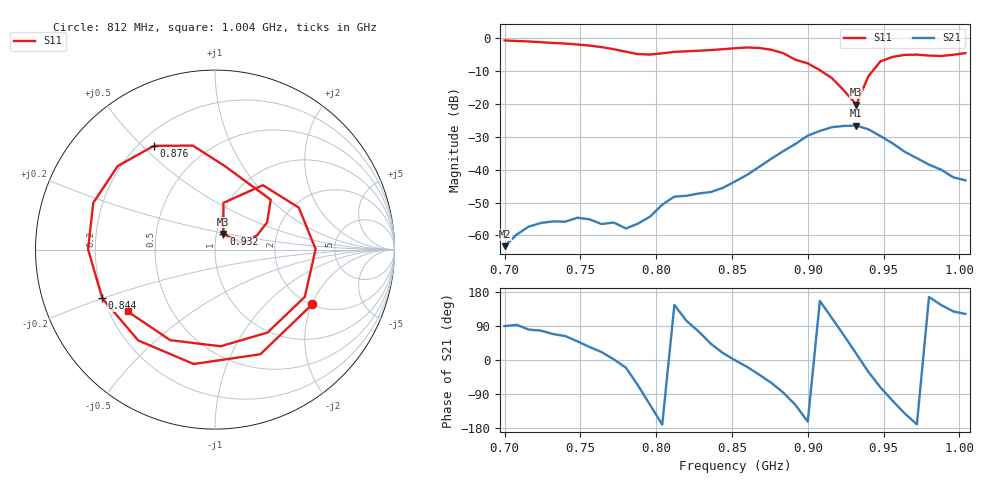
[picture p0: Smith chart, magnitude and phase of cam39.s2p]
# Hz S RI R 50
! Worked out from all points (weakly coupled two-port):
!   39 points, 700 MHz to 1.004 GHz, reference 50 ohm
!   highest |S21| = -26.56 dB at 932 MHz (marker M1); lowest = -63.3 dB at 700 MHz (marker M2)
!   lowest |S11| = -20.2 dB at 932 MHz (marker M3), VSWR 1.22, Z = 54 + j9.43 ohm
!   |S11| at or under -10 dB: 909 MHz to 942.7 MHz (33.7 MHz wide, 3.64 % of centre)
!   S12 and S22 are empty: the file has one direction only
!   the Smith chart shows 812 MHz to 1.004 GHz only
!   S11 on the Smith chart (normalised r, x): 812 MHz: 2.03, -2.02; 844 MHz: 0.20, -0.20; 876 MHz: 0.26, +0.54; 932 MHz: 1.08, +0.19; 1.004 GHz: 0.28, -0.30
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7e8  0.7627 0.5306  4.5e-06 0.000688  0 0  0 0
7.24e8  0.8337 -0.2586  0.000335 0.00151  0 0  0 0
7.4e8  0.4475 -0.7023  0.000733 0.00145  0 0  0 0
7.56e8  -0.1948 -0.751  0.00145 0.000995  0 0  0 0
7.72e8  -0.6573 -0.1876  0.00157 4.86e-05  0 0  0 0
7.8e8  -0.5809 0.2331  0.0012 -0.000441  0 0  0 0
7.88e8  -0.223 0.53  0.000593 -0.00139  0 0  0 0
7.96e8  0.2574 0.5055  -0.000931 -0.0017  0 0  0 0
8.04e8  0.5732 0.148  -0.00291 -0.000479  0 0  0 0
8.12e8  0.5428 -0.3039  -0.00321 0.00222  0 0  0 0
8.28e8  -0.1188 -0.6374  0.0011 0.00422  0 0  0 0
8.44e8  -0.6282 -0.2705  0.00504 0.00168  0 0  0 0
8.52e8  -0.7072 0.00173  0.00663 -8.05e-05  0 0  0 0
8.76e8  -0.3399 0.5782  0.00727 -0.0128  0 0  0 0
9e8  0.3104 0.2776  -0.0316 -0.00979  0 0  0 0
9.08e8  0.2905 0.1519  -0.0356 0.0159  0 0  0 0
9.32e8  0.0465 0.0864  0.045 0.0135  0 0  0 0
9.4e8  0.047 0.2603  0.0353 -0.0215  0 0  0 0
9.56e8  0.467 0.2337  -0.00768 -0.024  0 0  0 0
9.64e8  0.5606 0.00299  -0.0146 -0.0118  0 0  0 0
9.8e8  0.2925 -0.4622  -0.0116 0.00285  0 0  0 0
1.004e9  -0.4865 -0.3447  -0.0036 0.00589  0 0  0 0
